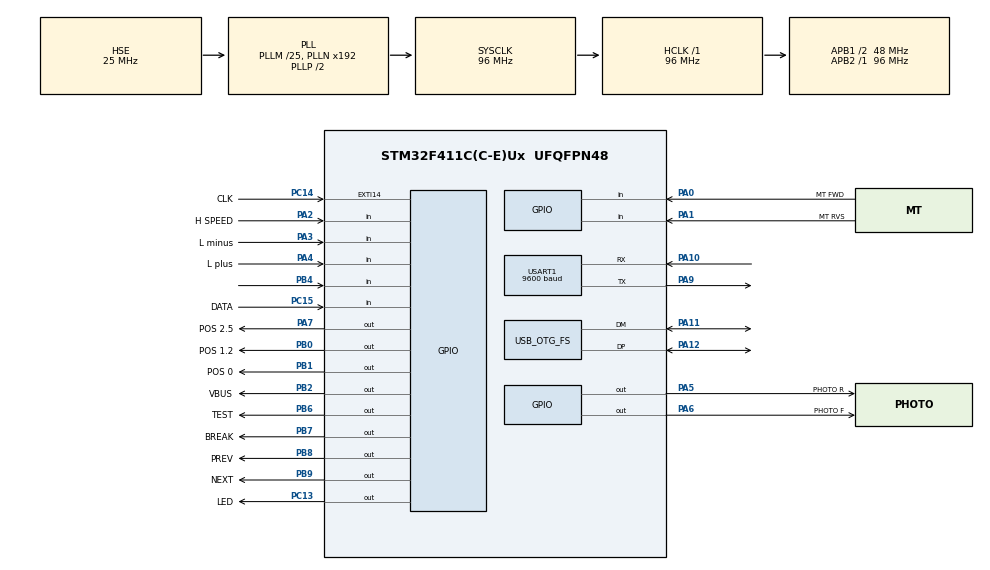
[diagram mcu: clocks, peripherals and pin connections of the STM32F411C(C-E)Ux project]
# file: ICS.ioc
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Dma.MEMTOMEM.1.Direction=DMA_MEMORY_TO_MEMORY
Dma.MEMTOMEM.1.FIFOMode=DMA_FIFOMODE_ENABLE
Dma.MEMTOMEM.1.FIFOThreshold=DMA_FIFO_THRESHOLD_FULL
Dma.MEMTOMEM.1.Instance=DMA2_Stream0
Dma.MEMTOMEM.1.MemBurst=DMA_MBURST_SINGLE
Dma.MEMTOMEM.1.MemDataAlignment=DMA_MDATAALIGN_BYTE
Dma.MEMTOMEM.1.MemInc=DMA_MINC_ENABLE
Dma.MEMTOMEM.1.Mode=DMA_NORMAL
Dma.MEMTOMEM.1.PeriphBurst=DMA_PBURST_SINGLE
Dma.MEMTOMEM.1.PeriphDataAlignment=DMA_PDATAALIGN_BYTE
Dma.MEMTOMEM.1.PeriphInc=DMA_PINC_ENABLE
Dma.MEMTOMEM.1.Priority=DMA_PRIORITY_HIGH
Dma.Request0=USART1_TX
Dma.Request1=MEMTOMEM
Dma.USART1_TX.0.Direction=DMA_MEMORY_TO_PERIPH
Dma.USART1_TX.0.FIFOMode=DMA_FIFOMODE_DISABLE
Dma.USART1_TX.0.Instance=DMA2_Stream7
Dma.USART1_TX.0.MemDataAlignment=DMA_MDATAALIGN_BYTE
Dma.USART1_TX.0.MemInc=DMA_MINC_ENABLE
Dma.USART1_TX.0.Mode=DMA_NORMAL
Dma.USART1_TX.0.PeriphDataAlignment=DMA_PDATAALIGN_BYTE
Dma.USART1_TX.0.PeriphInc=DMA_PINC_DISABLE
Dma.USART1_TX.0.Priority=DMA_PRIORITY_LOW
FATFS._FS_LOCK=0
FATFS._FS_READONLY=0
FATFS._FS_RPATH=2
FATFS._MAX_SS=512
FATFS._MIN_SS=512
FATFS._USE_FASTSEEK=1
FATFS._USE_FIND=1
FATFS._USE_MKFS=0
Mcu.Family=STM32F4
Mcu.Name=STM32F411C(C-E)Ux
Mcu.Package=UFQFPN48
NVIC.DMA2_Stream7_IRQn=true\:2\:0\:true\:false\:true\:false\:true
NVIC.EXTI15_10_IRQn=true\:0\:0\:false\:false\:true\:true\:true
NVIC.OTG_FS_IRQn=true\:1\:0\:true\:false\:true\:false\:true
NVIC.PriorityGroup=NVIC_PRIORITYGROUP_4
NVIC.TIM1_UP_TIM10_IRQn=true\:2\:0\:true\:false\:true\:true\:true
NVIC.USART1_IRQn=true\:2\:0\:true\:false\:true\:true\:true
PA0-WKUP.GPIO_Label=MT FWD
PA0-WKUP.Signal=GPIO_Input
PA1.GPIO_Label=MT RVS
PA1.Signal=GPIO_Input
PA10.Mode=Asynchronous
PA10.Signal=USART1_RX
PA11.Mode=Host_Only
PA11.Signal=USB_OTG_FS_DM
PA12.Mode=Host_Only
PA12.Signal=USB_OTG_FS_DP
PA13.Mode=Trace_Asynchronous_SW
PA13.Signal=SYS_JTMS-SWDIO
PA14.Mode=Trace_Asynchronous_SW
PA14.Signal=SYS_JTCK-SWCLK
PA2.GPIO_Label=H SPEED
PA2.Signal=GPIO_Input
PA3.GPIO_Label=L minus
PA3.Signal=GPIO_Input
PA4.GPIO_Label=L plus
PA4.Signal=GPIO_Input
PA5.GPIO_Label=PHOTO R
PA5.GPIO_ModeDefaultOutputPP=GPIO_MODE_OUTPUT_OD
PA5.PinState=GPIO_PIN_SET
PA5.Signal=GPIO_Output
PA6.GPIO_Label=PHOTO F
PA6.GPIO_ModeDefaultOutputPP=GPIO_MODE_OUTPUT_OD
PA6.PinState=GPIO_PIN_SET
PA6.Signal=GPIO_Output
PA7.GPIO_Label=POS 2.5
PA7.GPIO_ModeDefaultOutputPP=GPIO_MODE_OUTPUT_OD
PA7.PinState=GPIO_PIN_SET
PA7.Signal=GPIO_Output
PA9.Mode=Asynchronous
PA9.Signal=USART1_TX
PB0.GPIO_Label=POS 1.2
PB0.GPIO_ModeDefaultOutputPP=GPIO_MODE_OUTPUT_OD
PB0.PinState=GPIO_PIN_SET
PB0.Signal=GPIO_Output
PB1.GPIO_Label=POS 0
PB1.GPIO_ModeDefaultOutputPP=GPIO_MODE_OUTPUT_OD
PB1.PinState=GPIO_PIN_SET
PB1.Signal=GPIO_Output
PB2.GPIO_Label=VBUS
PB2.Signal=GPIO_Output
PB3.Mode=Trace_Asynchronous_SW
PB3.Signal=SYS_JTDO-SWO
PB4.Signal=GPIO_Input
PB6.GPIO_Label=TEST
PB6.Signal=GPIO_Output
PB7.GPIO_Label=BREAK
PB7.Signal=GPIO_Output
PB8.GPIO_Label=PREV
PB8.GPIO_ModeDefaultOutputPP=GPIO_MODE_OUTPUT_OD
PB8.Signal=GPIO_Output
PB9.GPIO_Label=NEXT
PB9.GPIO_ModeDefaultOutputPP=GPIO_MODE_OUTPUT_OD
PB9.Signal=GPIO_Output
PC13-ANTI_TAMP.GPIO_Label=LED
PC13-ANTI_TAMP.PinState=GPIO_PIN_SET
PC13-ANTI_TAMP.Signal=GPIO_Output
PC14-OSC32_IN.GPIO_Label=CLK
PC14-OSC32_IN.GPIO_ModeDefaultEXTI=GPIO_MODE_IT_RISING_FALLING
PC14-OSC32_IN.Signal=GPXTI14
PC15-OSC32_OUT.GPIO_Label=DATA
PC15-OSC32_OUT.Signal=GPIO_Input
PH0\ -\ OSC_IN.Mode=HSE-External-Oscillator
PH0\ -\ OSC_IN.Signal=RCC_OSC_IN
PH1\ -\ OSC_OUT.Mode=HSE-External-Oscillator
PH1\ -\ OSC_OUT.Signal=RCC_OSC_OUT
ProjectManager.HeapSize=0x2000
ProjectManager.StackSize=0x2000
ProjectManager.TargetToolchain=STM32CubeIDE
RCC.48MHZClocksFreq_Value=48000000
RCC.AHBFreq_Value=96000000
RCC.APB1CLKDivider=RCC_HCLK_DIV2
RCC.APB1Freq_Value=48000000
RCC.APB1TimFreq_Value=96000000
RCC.APB2Freq_Value=96000000
RCC.APB2TimFreq_Value=96000000
RCC.CortexFreq_Value=96000000
RCC.EnbaleCSS=true
RCC.HCLKFreq_Value=96000000
RCC.HSE_VALUE=25000000
RCC.HSI_VALUE=16000000
RCC.LSE_VALUE=32768
RCC.PLLM=25
RCC.SYSCLKFreq_VALUE=96000000
RCC.SYSCLKSource=RCC_SYSCLKSOURCE_PLLCLK
RCC.VCOOutputFreq_Value=192000000
TIM10.Period=49
TIM10.Prescaler=99
TIM11.Prescaler=9999
USART1.BaudRate=9600
USART1.Mode=MODE_TX_RX
USART1.VirtualMode=VM_ASYNC
USB_HOST.BSP.number=1
USB_HOST.USBH_DEBUG_LEVEL=0
USB_HOST.USBH_HandleTypeDef=hUsbHostFS
USB_HOST.USBH_MAX_DATA_BUFFER=4096
USB_HOST.USBH_MAX_NUM_ENDPOINTS=2
USB_HOST.USBH_MAX_NUM_INTERFACES=2
USB_HOST.USBH_MAX_SIZE_CONFIGURATION=512
USB_HOST.VirtualModeFS=Msc
USB_HOST0.BSP.STBoard=false
USB_HOST0.BSP.api=Unknown
USB_HOST0.BSP.i2caddr=0
USB_HOST0.BSP.instance=PB2
USB_HOST0.BSP.ip=GPIO
USB_HOST0.BSP.mode=Output
USB_HOST0.BSP.name=Drive_VBUS_FS
USB_HOST0.BSP.solution=PB2
USB_OTG_FS.VirtualMode=Host_Only
USB_OTG_FS.phy_itface=HCD_PHY_EMBEDDED
VP_CRC_VS_CRC.Mode=CRC_Activate
VP_FATFS_VS_USB.Mode=USB
VP_TIM10_VS_ClockSourceINT.Mode=Enable_Timer
VP_TIM11_VS_ClockSourceINT.Mode=Enable_Timer
VP_USB_HOST_VS_USB_HOST_MSC_FS.Mode=MSC_FS
board=custom

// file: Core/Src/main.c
/* USER CODE BEGIN Header */
/**
  ******************************************************************************
  * @file           : main.c
  * @brief          : Main program body
  ******************************************************************************
  * @attention
  *
  * <h2><center>&copy; Copyright (c) 2020 STMicroelectronics.
  * All rights reserved.</center></h2>
  *
  * This software component is licensed by ST under BSD 3-Clause license,
  * the "License"; You may not use this file except in compliance with the
  * License. You may obtain a copy of the License at:
  *                        opensource.org/licenses/BSD-3-Clause
  *
  ******************************************************************************
  */
/* USER CODE END Header */
#include "main.h"
#include "fatfs.h"
#include "usb_host.h"

/* USER CODE BEGIN Includes */
#include "tape.h"
/* USER CODE END Includes */

CRC_HandleTypeDef hcrc;

TIM_HandleTypeDef htim10;
TIM_HandleTypeDef htim11;

UART_HandleTypeDef huart1;
DMA_HandleTypeDef hdma_usart1_tx;

DMA_HandleTypeDef hdma_memtomem_dma2_stream0;
/* USER CODE BEGIN PV */

system_t systemStatus;
/* USER CODE END PV */

void SystemClock_Config(void);
static void MX_GPIO_Init(void);
static void MX_DMA_Init(void);
static void MX_TIM11_Init(void);
static void MX_TIM10_Init(void);
static void MX_USART1_UART_Init(void);
static void MX_CRC_Init(void);
void MX_USB_HOST_Process(void);

/* USER CODE BEGIN PFP */
int _write(int32_t file, uint8_t *ptr, int32_t len)
{
	for (int i = 0; i < len; i++)
	{
		ITM_SendChar(*ptr++);
	}
	return len;
}
/* USER CODE END PFP */

int main(void)
{

  /* MCU Configuration--------------------------------------------------------*/

  /* Reset of all peripherals, Initializes the Flash interface and the Systick. */
  HAL_Init();

  /* Configure the system clock */
  SystemClock_Config();

  /* Initialize all configured peripherals */
  MX_GPIO_Init();
  MX_DMA_Init();
  MX_TIM11_Init();
  MX_TIM10_Init();
  MX_USART1_UART_Init();
  MX_USB_HOST_Init();
  MX_CRC_Init();
  MX_FATFS_Init();
  /* USER CODE BEGIN 2 */
  //HAL_Delay(1000);								// Some delay before starting
  /* USER CODE END 2 */

  /* Infinite loop */
  /* USER CODE BEGIN WHILE */
  initSerial(&huart1);
  initTape();
  initUnilink(&htim11);
  printf("Begin main loop...\n");
  while (1) {
	  handleFS();
	  handleTape();
	  handleUnilink();

    /* USER CODE END WHILE */
    MX_USB_HOST_Process();

  }
}

void SystemClock_Config(void)
{
  RCC_OscInitTypeDef RCC_OscInitStruct = {0};
  RCC_ClkInitTypeDef RCC_ClkInitStruct = {0};

  /** Configure the main internal regulator output voltage
  */
  __HAL_RCC_PWR_CLK_ENABLE();
  __HAL_PWR_VOLTAGESCALING_CONFIG(PWR_REGULATOR_VOLTAGE_SCALE1);
  /** Initializes the RCC Oscillators according to the specified parameters
  * in the RCC_OscInitTypeDef structure.
  */
  RCC_OscInitStruct.OscillatorType = RCC_OSCILLATORTYPE_HSE;
  RCC_OscInitStruct.HSEState = RCC_HSE_ON;
  RCC_OscInitStruct.PLL.PLLState = RCC_PLL_ON;
  RCC_OscInitStruct.PLL.PLLSource = RCC_PLLSOURCE_HSE;
  RCC_OscInitStruct.PLL.PLLM = 25;
  RCC_OscInitStruct.PLL.PLLN = 192;
  RCC_OscInitStruct.PLL.PLLP = RCC_PLLP_DIV2;
  RCC_OscInitStruct.PLL.PLLQ = 4;
  if (HAL_RCC_OscConfig(&RCC_OscInitStruct) != HAL_OK)
  {
    Error_Handler();
  }
  /** Initializes the CPU, AHB and APB buses clocks
  */
  RCC_ClkInitStruct.ClockType = RCC_CLOCKTYPE_HCLK|RCC_CLOCKTYPE_SYSCLK
                              |RCC_CLOCKTYPE_PCLK1|RCC_CLOCKTYPE_PCLK2;
  RCC_ClkInitStruct.SYSCLKSource = RCC_SYSCLKSOURCE_PLLCLK;
  RCC_ClkInitStruct.AHBCLKDivider = RCC_SYSCLK_DIV1;
  RCC_ClkInitStruct.APB1CLKDivider = RCC_HCLK_DIV2;
  RCC_ClkInitStruct.APB2CLKDivider = RCC_HCLK_DIV1;

  if (HAL_RCC_ClockConfig(&RCC_ClkInitStruct, FLASH_LATENCY_3) != HAL_OK)
  {
    Error_Handler();
  }
  /** Enables the Clock Security System
  */
  HAL_RCC_EnableCSS();
}

static void MX_CRC_Init(void)
{

  hcrc.Instance = CRC;
  if (HAL_CRC_Init(&hcrc) != HAL_OK)
  {
    Error_Handler();
  }

}

static void MX_TIM10_Init(void)
{

  htim10.Instance = TIM10;
  htim10.Init.Prescaler = 99;
  htim10.Init.CounterMode = TIM_COUNTERMODE_UP;
  htim10.Init.Period = 49;
  htim10.Init.ClockDivision = TIM_CLOCKDIVISION_DIV1;
  htim10.Init.AutoReloadPreload = TIM_AUTORELOAD_PRELOAD_DISABLE;
  if (HAL_TIM_Base_Init(&htim10) != HAL_OK)
  {
    Error_Handler();
  }
  /* USER CODE BEGIN TIM10_Init 2 */
  HAL_TIM_Base_Start_IT(&htim10);
  /* USER CODE END TIM10_Init 2 */

}

static void MX_TIM11_Init(void)
{

  htim11.Instance = TIM11;
  htim11.Init.Prescaler = 9999;
  htim11.Init.CounterMode = TIM_COUNTERMODE_UP;
  htim11.Init.Period = 65535;
  htim11.Init.ClockDivision = TIM_CLOCKDIVISION_DIV1;
  htim11.Init.AutoReloadPreload = TIM_AUTORELOAD_PRELOAD_DISABLE;
  if (HAL_TIM_Base_Init(&htim11) != HAL_OK)
  {
    Error_Handler();
  }
  /* USER CODE BEGIN TIM11_Init 2 */
  htim11.Init.Period = SpiClkTimeout;		//*2 because timer clock is 500uS
  HAL_TIM_Base_Init(&htim11);
  /* USER CODE END TIM11_Init 2 */

}

static void MX_USART1_UART_Init(void)
{

  huart1.Instance = USART1;
  huart1.Init.BaudRate = 9600;
  huart1.Init.WordLength = UART_WORDLENGTH_8B;
  huart1.Init.StopBits = UART_STOPBITS_1;
  huart1.Init.Parity = UART_PARITY_NONE;
  huart1.Init.Mode = UART_MODE_TX_RX;
  huart1.Init.HwFlowCtl = UART_HWCONTROL_NONE;
  huart1.Init.OverSampling = UART_OVERSAMPLING_16;
  if (HAL_UART_Init(&huart1) != HAL_OK)
  {
    Error_Handler();
  }

}

static void MX_DMA_Init(void)
{

  /* DMA controller clock enable */
  __HAL_RCC_DMA2_CLK_ENABLE();

  /* Configure DMA request hdma_memtomem_dma2_stream0 on DMA2_Stream0 */
  hdma_memtomem_dma2_stream0.Instance = DMA2_Stream0;
  hdma_memtomem_dma2_stream0.Init.Channel = DMA_CHANNEL_0;
  hdma_memtomem_dma2_stream0.Init.Direction = DMA_MEMORY_TO_MEMORY;
  hdma_memtomem_dma2_stream0.Init.PeriphInc = DMA_PINC_ENABLE;
  hdma_memtomem_dma2_stream0.Init.MemInc = DMA_MINC_ENABLE;
  hdma_memtomem_dma2_stream0.Init.PeriphDataAlignment = DMA_PDATAALIGN_BYTE;
  hdma_memtomem_dma2_stream0.Init.MemDataAlignment = DMA_MDATAALIGN_BYTE;
  hdma_memtomem_dma2_stream0.Init.Mode = DMA_NORMAL;
  hdma_memtomem_dma2_stream0.Init.Priority = DMA_PRIORITY_HIGH;
  hdma_memtomem_dma2_stream0.Init.FIFOMode = DMA_FIFOMODE_ENABLE;
  hdma_memtomem_dma2_stream0.Init.FIFOThreshold = DMA_FIFO_THRESHOLD_FULL;
  hdma_memtomem_dma2_stream0.Init.MemBurst = DMA_MBURST_SINGLE;
  hdma_memtomem_dma2_stream0.Init.PeriphBurst = DMA_PBURST_SINGLE;
  if (HAL_DMA_Init(&hdma_memtomem_dma2_stream0) != HAL_OK)
  {
    Error_Handler( );
  }

  /* DMA interrupt init */
  /* DMA2_Stream7_IRQn interrupt configuration */
  HAL_NVIC_SetPriority(DMA2_Stream7_IRQn, 2, 0);
  HAL_NVIC_EnableIRQ(DMA2_Stream7_IRQn);

}

static void MX_GPIO_Init(void)
{
  GPIO_InitTypeDef GPIO_InitStruct = {0};

  /* GPIO Ports Clock Enable */
  __HAL_RCC_GPIOC_CLK_ENABLE();
  __HAL_RCC_GPIOH_CLK_ENABLE();
  __HAL_RCC_GPIOA_CLK_ENABLE();
  __HAL_RCC_GPIOB_CLK_ENABLE();

  /*Configure GPIO pin Output Level */
  HAL_GPIO_WritePin(LED_GPIO_Port, LED_Pin, GPIO_PIN_SET);

  /*Configure GPIO pin Output Level */
  HAL_GPIO_WritePin(GPIOA, PHOTO_R_Pin|PHOTO_F_Pin|POS_2_5_Pin, GPIO_PIN_SET);

  /*Configure GPIO pin Output Level */
  HAL_GPIO_WritePin(GPIOB, POS_1_2_Pin|POS_0_Pin, GPIO_PIN_SET);

  /*Configure GPIO pin Output Level */
  HAL_GPIO_WritePin(GPIOB, VBUS_Pin|TEST_Pin|BREAK_Pin|PREV_Pin
                          |NEXT_Pin, GPIO_PIN_RESET);

  /*Configure GPIO pin : LED_Pin */
  GPIO_InitStruct.Pin = LED_Pin;
  GPIO_InitStruct.Mode = GPIO_MODE_OUTPUT_PP;
  GPIO_InitStruct.Pull = GPIO_NOPULL;
  GPIO_InitStruct.Speed = GPIO_SPEED_FREQ_LOW;
  HAL_GPIO_Init(LED_GPIO_Port, &GPIO_InitStruct);

  /*Configure GPIO pin : CLK_Pin */
  GPIO_InitStruct.Pin = CLK_Pin;
  GPIO_InitStruct.Mode = GPIO_MODE_IT_RISING_FALLING;
  GPIO_InitStruct.Pull = GPIO_NOPULL;
  HAL_GPIO_Init(CLK_GPIO_Port, &GPIO_InitStruct);

  /*Configure GPIO pin : DATA_Pin */
  GPIO_InitStruct.Pin = DATA_Pin;
  GPIO_InitStruct.Mode = GPIO_MODE_INPUT;
  GPIO_InitStruct.Pull = GPIO_NOPULL;
  HAL_GPIO_Init(DATA_GPIO_Port, &GPIO_InitStruct);

  /*Configure GPIO pins : MT_FWD_Pin MT_RVS_Pin H_SPEED_Pin L_minus_Pin
                           L_plus_Pin */
  GPIO_InitStruct.Pin = MT_FWD_Pin|MT_RVS_Pin|H_SPEED_Pin|L_minus_Pin
                          |L_plus_Pin;
  GPIO_InitStruct.Mode = GPIO_MODE_INPUT;
  GPIO_InitStruct.Pull = GPIO_NOPULL;
  HAL_GPIO_Init(GPIOA, &GPIO_InitStruct);

  /*Configure GPIO pins : PHOTO_R_Pin PHOTO_F_Pin POS_2_5_Pin */
  GPIO_InitStruct.Pin = PHOTO_R_Pin|PHOTO_F_Pin|POS_2_5_Pin;
  GPIO_InitStruct.Mode = GPIO_MODE_OUTPUT_OD;
  GPIO_InitStruct.Pull = GPIO_NOPULL;
  GPIO_InitStruct.Speed = GPIO_SPEED_FREQ_LOW;
  HAL_GPIO_Init(GPIOA, &GPIO_InitStruct);

  /*Configure GPIO pins : POS_1_2_Pin POS_0_Pin PREV_Pin NEXT_Pin */
  GPIO_InitStruct.Pin = POS_1_2_Pin|POS_0_Pin|PREV_Pin|NEXT_Pin;
  GPIO_InitStruct.Mode = GPIO_MODE_OUTPUT_OD;
  GPIO_InitStruct.Pull = GPIO_NOPULL;
  GPIO_InitStruct.Speed = GPIO_SPEED_FREQ_LOW;
  HAL_GPIO_Init(GPIOB, &GPIO_InitStruct);

  /*Configure GPIO pins : VBUS_Pin TEST_Pin BREAK_Pin */
  GPIO_InitStruct.Pin = VBUS_Pin|TEST_Pin|BREAK_Pin;
  GPIO_InitStruct.Mode = GPIO_MODE_OUTPUT_PP;
  GPIO_InitStruct.Pull = GPIO_NOPULL;
  GPIO_InitStruct.Speed = GPIO_SPEED_FREQ_LOW;
  HAL_GPIO_Init(GPIOB, &GPIO_InitStruct);

  /*Configure GPIO pin : PB4 */
  GPIO_InitStruct.Pin = GPIO_PIN_4;
  GPIO_InitStruct.Mode = GPIO_MODE_INPUT;
  GPIO_InitStruct.Pull = GPIO_NOPULL;
  HAL_GPIO_Init(GPIOB, &GPIO_InitStruct);

  /* EXTI interrupt init*/
  HAL_NVIC_SetPriority(EXTI15_10_IRQn, 0, 0);
  HAL_NVIC_EnableIRQ(EXTI15_10_IRQn);

}

/* USER CODE BEGIN 4 */

void DebugPulse(uint8_t pulses){
	__HAL_TIM_SET_COUNTER(&htim10,0);
	__HAL_TIM_CLEAR_FLAG(&htim10,TIM_FLAG_UPDATE);
	spi.pulse_status=0;			// Initial pulse state
	spi.pulses=pulses;
}
void HAL_TIM_PeriodElapsedCallback(TIM_HandleTypeDef *htim){
	if(htim==&htim10){
		if(spi.pulses){
			switch(spi.pulse_status){
			case 0:					//Initial high time
				HAL_GPIO_WritePin(TEST_GPIO_Port, TEST_Pin,SET);
				spi.pulse_status++;
				break;
			case 1:					// Low time
				HAL_GPIO_WritePin(TEST_GPIO_Port, TEST_Pin,RESET);
				spi.pulses--;
				spi.pulse_status=0;
				break;
			}
		}
	}
}

/* USER CODE END 4 */

void Error_Handler(void)
{
  __disable_irq();
  while (1)
  {
  }
}

/************************ (C) COPYRIGHT STMicroelectronics *****END OF FILE****/
